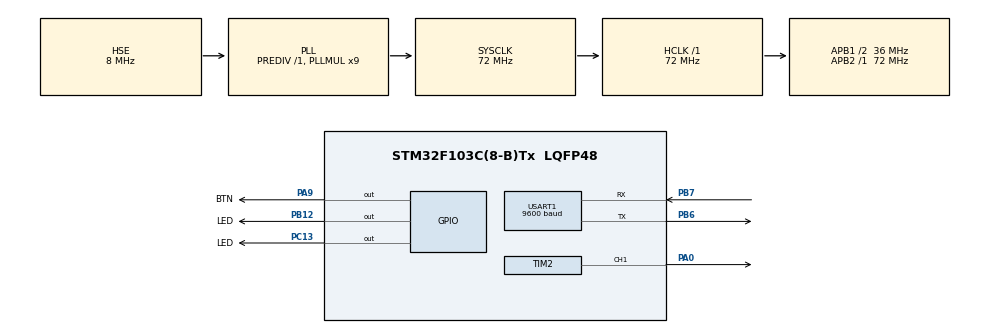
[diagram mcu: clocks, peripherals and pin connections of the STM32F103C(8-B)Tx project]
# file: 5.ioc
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Mcu.Family=STM32F1
Mcu.Name=STM32F103C(8-B)Tx
Mcu.Package=LQFP48
NVIC.PriorityGroup=NVIC_PRIORITYGROUP_4
NVIC.USART1_IRQn=true\:10\:0\:true\:false\:true\:true\:true
PA0-WKUP.Signal=S_TIM2_CH1_ETR
PA13.Mode=Serial_Wire
PA13.Signal=SYS_JTMS-SWDIO
PA14.Mode=Serial_Wire
PA14.Signal=SYS_JTCK-SWCLK
PA9.GPIO_Label=BTN
PA9.Signal=GPIO_Output
PB12.GPIO_Label=LED
PB12.Signal=GPIO_Output
PB6.Mode=Asynchronous
PB6.Signal=USART1_TX
PB7.Mode=Asynchronous
PB7.Signal=USART1_RX
PC13-TAMPER-RTC.GPIO_Label=LED
PC13-TAMPER-RTC.Signal=GPIO_Output
PD0-OSC_IN.Mode=HSE-External-Oscillator
PD0-OSC_IN.Signal=RCC_OSC_IN
PD1-OSC_OUT.Mode=HSE-External-Oscillator
PD1-OSC_OUT.Signal=RCC_OSC_OUT
ProjectManager.HeapSize=0x200
ProjectManager.StackSize=0x400
ProjectManager.TargetToolchain=Makefile
RCC.AHBFreq_Value=72000000
RCC.APB1CLKDivider=RCC_HCLK_DIV2
RCC.APB1Freq_Value=36000000
RCC.APB1TimFreq_Value=72000000
RCC.APB2Freq_Value=72000000
RCC.APB2TimFreq_Value=72000000
RCC.HCLKFreq_Value=72000000
RCC.PLLMUL=RCC_PLL_MUL9
RCC.PLLSourceVirtual=RCC_PLLSOURCE_HSE
RCC.SYSCLKFreq_VALUE=72000000
RCC.SYSCLKSource=RCC_SYSCLKSOURCE_PLLCLK
RCC.USBFreq_Value=72000000
SH.S_TIM2_CH1_ETR.0=TIM2_CH1,PWM Generation1 CH1
TIM2.Channel-PWM\ Generation1\ CH1=TIM_CHANNEL_1
TIM2.Period=20000
TIM2.Prescaler=71
TIM2.Pulse-PWM\ Generation1\ CH1=1000
USART1.BaudRate=9600
USART1.Parity=PARITY_EVEN
USART1.VirtualMode=VM_ASYNC
USART1.WordLength=WORDLENGTH_9B
board=custom

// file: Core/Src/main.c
/* USER CODE BEGIN Header */
/**
  ******************************************************************************
  * @file           : main.c
  * @brief          : Main program body
  ******************************************************************************
  * @attention
  *
  * <h2><center>&copy; Copyright (c) 2021 STMicroelectronics.
  * All rights reserved.</center></h2>
  *
  * This software component is licensed by ST under BSD 3-Clause license,
  * the "License"; You may not use this file except in compliance with the
  * License. You may obtain a copy of the License at:
  *                        opensource.org/licenses/BSD-3-Clause
  *
  ******************************************************************************
  */
/* USER CODE END Header */
#include "main.h"

TIM_HandleTypeDef htim2;

UART_HandleTypeDef huart1;

void SystemClock_Config(void);
static void MX_GPIO_Init(void);
static void MX_TIM2_Init(void);
static void MX_USART1_UART_Init(void);

/* USER CODE BEGIN 0 */
inline void solve(uint8_t *input, uint8_t output[64], int *a, int *b, int *s)
{
  if (*input == '#') // well recieved, calculate a + b and output
  {
    int c, c_l = 0;
    c = *a + *b;                // c = a + b
    for (int d = c; d; d /= 10) // get the length of c
      c_l++;

    output[0] = 'a';
    output[1] = 'n';
    output[2] = 's';
    output[3] = '!';
    output[c_l + 4] = '#';
    for (int i = c_l; i >= 1; i--) // generate output array
    {
      output[i] = c % 10 + '0'; // cast from int to char
      c /= 10;
    }

    HAL_UART_Transmit(&huart1, output, c_l + 5, 100); // output the result

    *s = 0, *a = 0, *b = 0; // get ready for the next session
  }
  else if (*input == '!') // session started
  {
    *s = 1; // ready to collect variable a
  }
  else if (*input == ':')
  {
    *s = 2; // ready to collect variable b
  }
  else if (*s == 1) // collect and store variable a
  {
    *a = *a * 10 + (*input - '0'); // from char to int
  }
  else if (*s == 2) // collect and store variable b
  {
    *b = *b * 10 + (*input - '0'); // from char to int
  }
}
/* USER CODE END 0 */

int main(void)
{

  /* MCU Configuration--------------------------------------------------------*/

  /* Reset of all peripherals, Initializes the Flash interface and the Systick. */
  HAL_Init();

  /* Configure the system clock */
  SystemClock_Config();

  /* Initialize all configured peripherals */
  MX_GPIO_Init();
  MX_TIM2_Init();
  MX_USART1_UART_Init();
  /* USER CODE BEGIN 2 */
  int a = 0, b = 0, s = 0;

  /* USER CODE END 2 */

  /* Infinite loop */
  while (1)
  {

    /* USER CODE BEGIN 3 */
    uint8_t input[1] = {'\0'};
    uint8_t output[64] = {'\0'};
    while (HAL_UART_Receive(&huart1, input, 1, 100) == HAL_OK)
    {
      HAL_UART_Transmit(&huart1, input, 1, 100);
      solve(input, output, &a, &b, &s);
    }
    input[0] = '\0';
    HAL_Delay(1);
  }
  /* USER CODE END 3 */
}

void SystemClock_Config(void)
{
  RCC_OscInitTypeDef RCC_OscInitStruct = {0};
  RCC_ClkInitTypeDef RCC_ClkInitStruct = {0};

  /** Initializes the RCC Oscillators according to the specified parameters
  * in the RCC_OscInitTypeDef structure.
  */
  RCC_OscInitStruct.OscillatorType = RCC_OSCILLATORTYPE_HSE;
  RCC_OscInitStruct.HSEState = RCC_HSE_ON;
  RCC_OscInitStruct.HSEPredivValue = RCC_HSE_PREDIV_DIV1;
  RCC_OscInitStruct.HSIState = RCC_HSI_ON;
  RCC_OscInitStruct.PLL.PLLState = RCC_PLL_ON;
  RCC_OscInitStruct.PLL.PLLSource = RCC_PLLSOURCE_HSE;
  RCC_OscInitStruct.PLL.PLLMUL = RCC_PLL_MUL9;
  if (HAL_RCC_OscConfig(&RCC_OscInitStruct) != HAL_OK)
  {
    Error_Handler();
  }
  /** Initializes the CPU, AHB and APB buses clocks
  */
  RCC_ClkInitStruct.ClockType = RCC_CLOCKTYPE_HCLK | RCC_CLOCKTYPE_SYSCLK | RCC_CLOCKTYPE_PCLK1 | RCC_CLOCKTYPE_PCLK2;
  RCC_ClkInitStruct.SYSCLKSource = RCC_SYSCLKSOURCE_PLLCLK;
  RCC_ClkInitStruct.AHBCLKDivider = RCC_SYSCLK_DIV1;
  RCC_ClkInitStruct.APB1CLKDivider = RCC_HCLK_DIV2;
  RCC_ClkInitStruct.APB2CLKDivider = RCC_HCLK_DIV1;

  if (HAL_RCC_ClockConfig(&RCC_ClkInitStruct, FLASH_LATENCY_2) != HAL_OK)
  {
    Error_Handler();
  }
}

static void MX_TIM2_Init(void)
{

  TIM_MasterConfigTypeDef sMasterConfig = {0};
  TIM_OC_InitTypeDef sConfigOC = {0};

  htim2.Instance = TIM2;
  htim2.Init.Prescaler = 71;
  htim2.Init.CounterMode = TIM_COUNTERMODE_UP;
  htim2.Init.Period = 20000;
  htim2.Init.ClockDivision = TIM_CLOCKDIVISION_DIV1;
  htim2.Init.AutoReloadPreload = TIM_AUTORELOAD_PRELOAD_DISABLE;
  if (HAL_TIM_PWM_Init(&htim2) != HAL_OK)
  {
    Error_Handler();
  }
  sMasterConfig.MasterOutputTrigger = TIM_TRGO_RESET;
  sMasterConfig.MasterSlaveMode = TIM_MASTERSLAVEMODE_DISABLE;
  if (HAL_TIMEx_MasterConfigSynchronization(&htim2, &sMasterConfig) != HAL_OK)
  {
    Error_Handler();
  }
  sConfigOC.OCMode = TIM_OCMODE_PWM1;
  sConfigOC.Pulse = 1000;
  sConfigOC.OCPolarity = TIM_OCPOLARITY_HIGH;
  sConfigOC.OCFastMode = TIM_OCFAST_DISABLE;
  if (HAL_TIM_PWM_ConfigChannel(&htim2, &sConfigOC, TIM_CHANNEL_1) != HAL_OK)
  {
    Error_Handler();
  }
  HAL_TIM_MspPostInit(&htim2);
}

static void MX_USART1_UART_Init(void)
{

  huart1.Instance = USART1;
  huart1.Init.BaudRate = 9600;
  huart1.Init.WordLength = UART_WORDLENGTH_9B;
  huart1.Init.StopBits = UART_STOPBITS_1;
  huart1.Init.Parity = UART_PARITY_EVEN;
  huart1.Init.Mode = UART_MODE_TX_RX;
  huart1.Init.HwFlowCtl = UART_HWCONTROL_NONE;
  huart1.Init.OverSampling = UART_OVERSAMPLING_16;
  if (HAL_UART_Init(&huart1) != HAL_OK)
  {
    Error_Handler();
  }
}

static void MX_GPIO_Init(void)
{
  GPIO_InitTypeDef GPIO_InitStruct = {0};

  /* GPIO Ports Clock Enable */
  __HAL_RCC_GPIOC_CLK_ENABLE();
  __HAL_RCC_GPIOD_CLK_ENABLE();
  __HAL_RCC_GPIOA_CLK_ENABLE();
  __HAL_RCC_GPIOB_CLK_ENABLE();

  /*Configure GPIO pin Output Level */
  HAL_GPIO_WritePin(LED_GPIO_Port, LED_Pin, GPIO_PIN_RESET);

  /*Configure GPIO pin Output Level */
  HAL_GPIO_WritePin(LEDB12_GPIO_Port, LEDB12_Pin, GPIO_PIN_RESET);

  /*Configure GPIO pin Output Level */
  HAL_GPIO_WritePin(BTN_GPIO_Port, BTN_Pin, GPIO_PIN_RESET);

  /*Configure GPIO pin : LED_Pin */
  GPIO_InitStruct.Pin = LED_Pin;
  GPIO_InitStruct.Mode = GPIO_MODE_OUTPUT_PP;
  GPIO_InitStruct.Pull = GPIO_NOPULL;
  GPIO_InitStruct.Speed = GPIO_SPEED_FREQ_LOW;
  HAL_GPIO_Init(LED_GPIO_Port, &GPIO_InitStruct);

  /*Configure GPIO pin : LEDB12_Pin */
  GPIO_InitStruct.Pin = LEDB12_Pin;
  GPIO_InitStruct.Mode = GPIO_MODE_OUTPUT_PP;
  GPIO_InitStruct.Pull = GPIO_NOPULL;
  GPIO_InitStruct.Speed = GPIO_SPEED_FREQ_LOW;
  HAL_GPIO_Init(LEDB12_GPIO_Port, &GPIO_InitStruct);

  /*Configure GPIO pin : BTN_Pin */
  GPIO_InitStruct.Pin = BTN_Pin;
  GPIO_InitStruct.Mode = GPIO_MODE_OUTPUT_PP;
  GPIO_InitStruct.Pull = GPIO_NOPULL;
  GPIO_InitStruct.Speed = GPIO_SPEED_FREQ_LOW;
  HAL_GPIO_Init(BTN_GPIO_Port, &GPIO_InitStruct);
}

void Error_Handler(void)
{
  __disable_irq();
  while (1)
  {
  }
}

/************************ (C) COPYRIGHT STMicroelectronics *****END OF FILE****/
